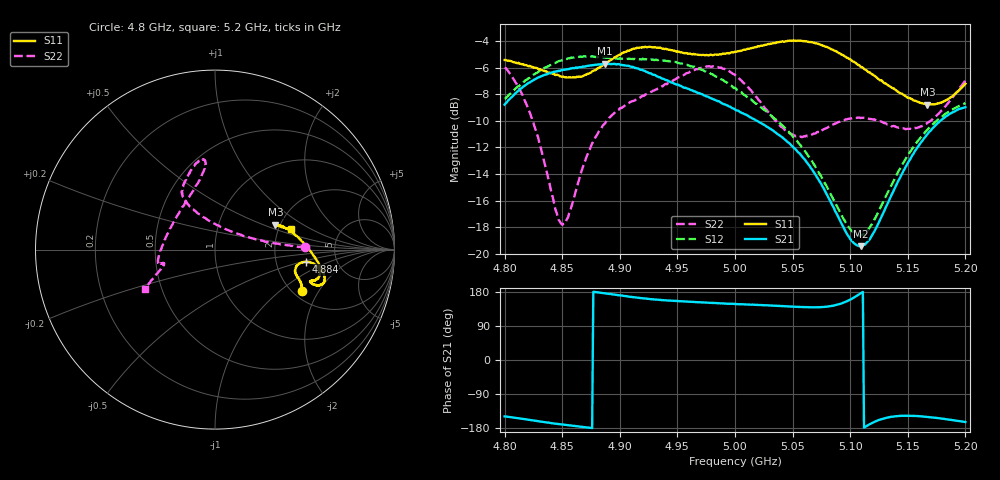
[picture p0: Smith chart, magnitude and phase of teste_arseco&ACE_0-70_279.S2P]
! Network Analyzer HP8722D
! Hewlett-Packard
! Data name: Linha & Wilkinson
! Saver's name: Rodrigo Anjos
! Comments: Teste da utilização de aquisição
! continua pelo VNA HP8722D
! Time and date: 8/5/2025 15:05
!  Frequency  S11  S21  S12  S22
# HZ  S  MA R 50
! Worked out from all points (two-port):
!   401 points, 4.8 GHz to 5.2 GHz, reference 50 ohm
!   highest |S21| = -5.68 dB at 4.887 GHz (marker M1); lowest = -19.4 dB at 5.109 GHz (marker M2)
!   |S21| within 3 dB of the highest: 4.801 GHz to 4.989 GHz (187.9 MHz wide, 3.84 % of centre)
!   lowest |S11| = -8.8 dB at 5.167 GHz (marker M3), VSWR 2.15, Z = 94.5 + j30.2 ohm
!   |S11| at or under -10 dB: nowhere
!   |S22| runs from -17.8 to -5.9 dB; largest |S21 - S12| = 1.1
!   S11 on the Smith chart (normalised r, x): 4.8 GHz: 2.24, -1.44; 4.884 GHz: 2.96, -0.54; 5.2 GHz: 2.33, +0.65
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4.8e9  0.5361 -25.2  0.3641 -148.9  0.3828 10.5  0.5024 1.5
4.812e9  0.5231 -22.2  0.4111 -153.7  0.4273 8.9  0.424 2.8
4.823e9  0.5073 -20.5  0.4451 -158.7  0.4646 7.3  0.3286 6.2
4.845e9  0.4715 -16.8  0.486 -168.4  0.5255 3.8  0.143 41.9
4.849e9  0.4647 -16.1  0.4906 -170.0  0.5338 3.1  0.1298 58.9
4.855e9  0.4611 -14.2  0.4952 -172.3  0.5439 2.2  0.1368 85.1
4.867e9  0.4638 -10.9  0.5039 -176.6  0.551 0.4  0.2061 112.4
4.884e9  0.509 -7.7  0.5174 177.1  0.5475 -0.8  0.2965 121.1
4.887e9  0.5186 -7.6  0.5198 176.2  0.548 -0.8  0.3088 121.3
4.913e9  0.5918 -11.0  0.5002 165.2  0.5414 -0.5  0.3775 118.7
4.934e9  0.5957 -15.6  0.4618 158.7  0.5382 -1.3  0.4204 112.7
4.975e9  0.5601 -18.4  0.3912 151.5  0.4844 -5.0  0.5065 99.2
5e9  0.5757 -19.3  0.3489 147.8  0.4211 -5.2  0.4711 97.0
5.045e9  0.6312 -17.3  0.2652 141.5  0.2924 3.2  0.2891 132.9
5.067e9  0.6248 -13.2  0.2073 139.1  0.2223 9.5  0.2809 164.7
5.098e9  0.5455 -2.8  0.117 156.3  0.127 37.2  0.3214 -170.6
5.109e9  0.506 2.4  0.1066 175.7  0.117 59.0  0.324 -167.2
5.119e9  0.4738 7.4  0.1173 -166.1  0.1294 78.3  0.3203 -165.8
5.134e9  0.4276 14.8  0.1596 -150.9  0.1746 94.9  0.3053 -165.8
5.167e9  0.3643 22.3  0.2815 -150.3  0.293 102.5  0.3111 -161.2
5.183e9  0.3777 20.2  0.3283 -156.1  0.337 102.6  0.36 -156.6
5.2e9  0.4362 14.9  0.3559 -163.6  0.3689 102.9  0.4496 -150.7
